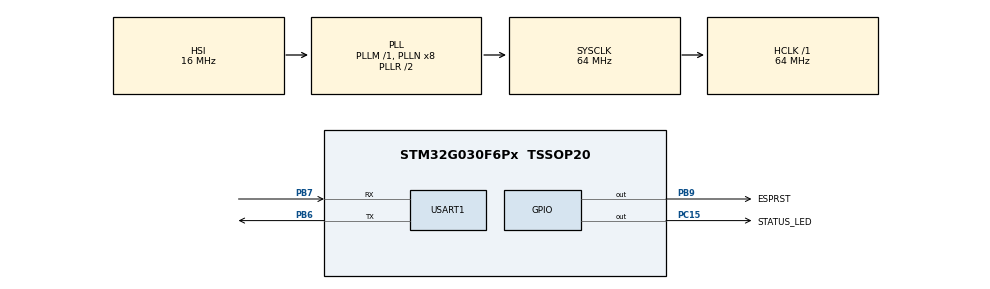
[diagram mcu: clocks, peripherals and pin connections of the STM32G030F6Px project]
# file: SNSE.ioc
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Dma.Request0=USART1_RX
Dma.USART1_RX.0.Direction=DMA_PERIPH_TO_MEMORY
Dma.USART1_RX.0.EventEnable=DISABLE
Dma.USART1_RX.0.Instance=DMA1_Channel1
Dma.USART1_RX.0.MemDataAlignment=DMA_MDATAALIGN_BYTE
Dma.USART1_RX.0.MemInc=DMA_MINC_ENABLE
Dma.USART1_RX.0.Mode=DMA_CIRCULAR
Dma.USART1_RX.0.PeriphDataAlignment=DMA_PDATAALIGN_BYTE
Dma.USART1_RX.0.PeriphInc=DMA_PINC_DISABLE
Dma.USART1_RX.0.Polarity=HAL_DMAMUX_REQ_GEN_RISING
Dma.USART1_RX.0.Priority=DMA_PRIORITY_LOW
Dma.USART1_RX.0.RequestNumber=1
Dma.USART1_RX.0.SignalID=NONE
Dma.USART1_RX.0.SyncEnable=DISABLE
Dma.USART1_RX.0.SyncPolarity=HAL_DMAMUX_SYNC_NO_EVENT
Dma.USART1_RX.0.SyncRequestNumber=1
Dma.USART1_RX.0.SyncSignalID=NONE
Mcu.Family=STM32G0
Mcu.Name=STM32G030F6Px
Mcu.Package=TSSOP20
NVIC.DMA1_Channel1_IRQn=true\:0\:0\:false\:false\:true\:false\:true\:true
PA13.Mode=Serial_Wire
PA13.Signal=SYS_SWDIO
PA14-BOOT0.Mode=Serial_Wire
PA14-BOOT0.Signal=SYS_SWCLK
PA14-BOOT0__PA15.StandardMode=true
PB0__PB1__PB2__PA8.StandardMode=true
PB3__PB4__PB5__PB6.StandardMode=true
PB6.Mode=Asynchronous
PB6.Signal=USART1_TX
PB7.Mode=Asynchronous
PB7.Signal=USART1_RX
PB7__PB8.StandardMode=true
PB9.GPIO_Label=ESPRST
PB9.Signal=GPIO_Output
PC14-OSC32_IN\ (PC14)__PB9.StandardMode=true
PC15-OSC32_OUT\ (PC15).GPIO_Label=STATUS_LED
PC15-OSC32_OUT\ (PC15).Signal=GPIO_Output
ProjectManager.HeapSize=0x200
ProjectManager.StackSize=0x400
ProjectManager.TargetToolchain=CMake
RCC.ADCFreq_Value=64000000
RCC.AHBFreq_Value=64000000
RCC.CortexFreq_Value=64000000
RCC.EXTERNAL_CLOCK_VALUE=12288000
RCC.HCLKFreq_Value=64000000
RCC.HSE_VALUE=8000000
RCC.HSI_VALUE=16000000
RCC.LSE_VALUE=32768
RCC.SYSCLKFreq_VALUE=64000000
RCC.SYSCLKSource=RCC_SYSCLKSOURCE_PLLCLK
RCC.VCOOutputFreq_Value=128000000
USART1.VirtualMode-Asynchronous=VM_ASYNC
board=custom

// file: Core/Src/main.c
/* USER CODE BEGIN Header */
/**
  ******************************************************************************
  * @file           : main.c
  * @brief          : Main program body
  ******************************************************************************
  * @attention
  *
  * Copyright (c) 2025 STMicroelectronics.
  * All rights reserved.
  *
  * This software is licensed under terms that can be found in the LICENSE file
  * in the root directory of this software component.
  * If no LICENSE file comes with this software, it is provided AS-IS.
  *
  ******************************************************************************
  */
/* USER CODE END Header */
#include "main.h"
#include "dma.h"
#include "usart.h"
#include "gpio.h"

/* USER CODE BEGIN Includes */
#include "../ESP8266/esp8266.h"
#include "../Flash/flash.h"
#include "../wifihandler/wifihandler.h"
#include "../wifihandler/userhandlers.h"
#include "../credentials.h"
#include <string.h>
#include <stdio.h>
/* USER CODE END Includes */

/* USER CODE BEGIN PV */
WIFI_t wifi;
Connection_t conn;
/* USER CODE END PV */

void SystemClock_Config(void);

int main(void)
{

  /* MCU Configuration--------------------------------------------------------*/

  /* Reset of all peripherals, Initializes the Flash interface and the Systick. */
  HAL_Init();

  /* Configure the system clock */
  SystemClock_Config();

  /* Initialize all configured peripherals */
  MX_GPIO_Init();
  MX_DMA_Init();
  MX_USART1_UART_Init();
  /* USER CODE BEGIN 2 */
  if (ESP8266_Init() == TIMEOUT)
  {
	  while (1)
		  __NOP();
  }

#ifdef ENABLE_SAVE_TO_FLASH
  FLASH_ReadSaveData();
  if (WIFI_SetName(&wifi, savedata.name) == ERR)
    WIFI_SetName(&wifi, (char*)ESP_NAME); // happens when there is nothing saved to FLASH, so set default name
  WIFI_SetIP(&wifi, savedata.ip);         // if there is nothing saved to FLASH, this function does nothing
#else
  WIFI_SetName(&wifi, (char*)ESP_NAME);
#endif

  memcpy(wifi.SSID, ssid, strlen(ssid));
  memcpy(wifi.pw, password, strlen(password));
  HAL_GPIO_WritePin(STATUS_Port, STATUS_Pin, 1);
  uint32_t connect_status = WIFI_Connect(&wifi);
  if (connect_status == FAIL || connect_status == ERROR)
  {
    // try again
    NVIC_SystemReset();
  }
  HAL_GPIO_WritePin(STATUS_Port, STATUS_Pin, 0);
  WIFI_EnableNTPServer(&wifi, 2);

  /*
  The first time the ESP connects to WiFi, the gateway assigns an IP to it, which now gets saved to FLASH.
  The next time the ESP connects, the gateway could assign a different IP; to prevent this, the function
  WIFI_SetIP(&wifi, savedata.ip); loads the IP previously saved on FLASH so that the ESP tries to connect
  and get this IP
  */
  strncpy(savedata.ip, wifi.IP, 15);
  FLASH_WriteSaveData();

  WIFI_StartServer(&wifi, SERVER_PORT);

  SWITCH_Init(&(switches[RELAY_SWITCH]), false, GPIOA, 0);
  /* USER CODE END 2 */

  /* Infinite loop */
  /* USER CODE BEGIN WHILE */
  while (1)
  {
	  Response_t status = WIFI_ReceiveRequest(&wifi, &conn, AT_SHORT_TIMEOUT);
	  if (status == OK)
	  {
		  char* key_ptr = NULL;

      if ((key_ptr = WIFI_RequestHasKey(&conn, "wifi")))
			  WIFIHANDLER_HandleWiFiRequest(&conn, key_ptr);
      else if ((key_ptr = WIFI_RequestHasKey(&conn, "switch")))
			  WIFIHANDLER_HandleSwitchRequest(&conn, key_ptr);
      else if ((key_ptr = WIFI_RequestHasKey(&conn, "features")))
				  WIFIHANDLER_HandleFeaturePacket(&conn, (char*)FEATURES_TEMPLATE);
      else if ((key_ptr = WIFI_RequestHasKey(&conn, "notification")))
        WIFIHANDLER_HandleNotificationRequest(&conn, key_ptr);

		  if ((key_ptr = WIFI_RequestHasKey(&conn, "time")))
		  {
			  if (WIFI_RequestKeyHasValue(&conn, key_ptr, "now"))
			  {
				  int32_t hours = WIFI_GetTimeHour(&wifi);
				  int32_t minutes = WIFI_GetTimeMinutes(&wifi);
				  int32_t seconds = WIFI_GetTimeSeconds(&wifi);
				  sprintf(wifi.buf, "%ld:%ld:%ld", hours, minutes, seconds);
				  WIFI_SendResponse(&conn, "200 OK", wifi.buf, strlen(wifi.buf));
			  }
		  }
	  }
	  // OPTIONAL
	  else if (status != TIMEOUT)
	  {
		  sprintf(wifi.buf, "Status: %d", status);
		  WIFI_ResetComm(&wifi, &conn);
		  WIFI_SendResponse(&conn, "500 Internal server error", wifi.buf, strlen(wifi.buf));
	  }

	  // OPTIONAL
	  WIFI_ResetConnectionIfError(&wifi, &conn, status);
    /* USER CODE END WHILE */

  }
}

void SystemClock_Config(void)
{
  RCC_OscInitTypeDef RCC_OscInitStruct = {0};
  RCC_ClkInitTypeDef RCC_ClkInitStruct = {0};

  /** Configure the main internal regulator output voltage
  */
  HAL_PWREx_ControlVoltageScaling(PWR_REGULATOR_VOLTAGE_SCALE1);

  /** Initializes the RCC Oscillators according to the specified parameters
  * in the RCC_OscInitTypeDef structure.
  */
  RCC_OscInitStruct.OscillatorType = RCC_OSCILLATORTYPE_HSI;
  RCC_OscInitStruct.HSIState = RCC_HSI_ON;
  RCC_OscInitStruct.HSIDiv = RCC_HSI_DIV1;
  RCC_OscInitStruct.HSICalibrationValue = RCC_HSICALIBRATION_DEFAULT;
  RCC_OscInitStruct.PLL.PLLState = RCC_PLL_ON;
  RCC_OscInitStruct.PLL.PLLSource = RCC_PLLSOURCE_HSI;
  RCC_OscInitStruct.PLL.PLLM = RCC_PLLM_DIV1;
  RCC_OscInitStruct.PLL.PLLN = 8;
  RCC_OscInitStruct.PLL.PLLP = RCC_PLLP_DIV2;
  RCC_OscInitStruct.PLL.PLLR = RCC_PLLR_DIV2;
  if (HAL_RCC_OscConfig(&RCC_OscInitStruct) != HAL_OK)
  {
    Error_Handler();
  }

  /** Initializes the CPU, AHB and APB buses clocks
  */
  RCC_ClkInitStruct.ClockType = RCC_CLOCKTYPE_HCLK|RCC_CLOCKTYPE_SYSCLK
                              |RCC_CLOCKTYPE_PCLK1;
  RCC_ClkInitStruct.SYSCLKSource = RCC_SYSCLKSOURCE_PLLCLK;
  RCC_ClkInitStruct.AHBCLKDivider = RCC_SYSCLK_DIV1;
  RCC_ClkInitStruct.APB1CLKDivider = RCC_HCLK_DIV1;

  if (HAL_RCC_ClockConfig(&RCC_ClkInitStruct, FLASH_LATENCY_2) != HAL_OK)
  {
    Error_Handler();
  }
}

void Error_Handler(void)
{
  __disable_irq();
  while (1)
  {
  }
}
